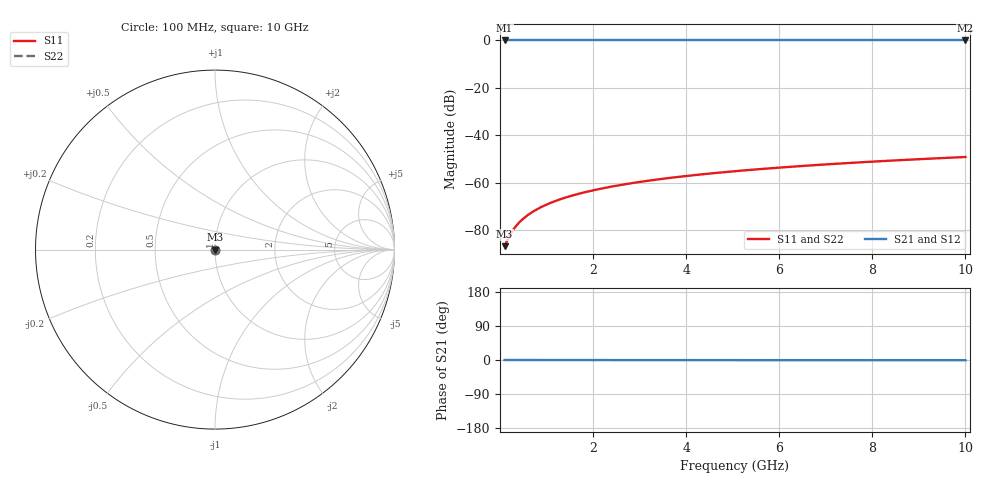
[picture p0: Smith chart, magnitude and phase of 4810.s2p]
# Hz S RI R 50.00
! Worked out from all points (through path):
!   100 points, 100 MHz to 10 GHz, reference 50 ohm
!   highest |S21| = 0.00 dB at 100 MHz (marker M1); lowest = 0.0 dB at 10 GHz (marker M2)
!   lowest |S11| = -86.7 dB at 100 MHz (marker M3), VSWR 1.00, Z = 50 - j0.00347 ohm
!   |S11| at or under -10 dB: start of sweep to end of sweep
!   |S22| runs from -86.7 to -49.1 dB; largest |S21 - S12| = 0
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1e8  3.09e-05 -3.47e-05  1 -0.000125  1 -0.000125  3.09e-05 -3.47e-05
2e8  3.1e-05 -6.95e-05  1 -0.00025  1 -0.00025  3.1e-05 -6.95e-05
3e8  3.1e-05 -0.000104  1 -0.000375  1 -0.000375  3.1e-05 -0.000104
4e8  3.11e-05 -0.000139  1 -0.0005  1 -0.0005  3.11e-05 -0.000139
5e8  3.11e-05 -0.000174  1 -0.000625  1 -0.000625  3.11e-05 -0.000174
6e8  3.1e-05 -0.000209  1 -0.00075  1 -0.00075  3.1e-05 -0.000209
7e8  3.1e-05 -0.000243  1 -0.000875  1 -0.000875  3.1e-05 -0.000243
9e8  3.09e-05 -0.000313  1 -0.00112  1 -0.00112  3.09e-05 -0.000313
1.1e9  3.07e-05 -0.000382  1 -0.00137  1 -0.00137  3.07e-05 -0.000382
1.3e9  3.04e-05 -0.000452  1 -0.00162  1 -0.00162  3.04e-05 -0.000452
1.5e9  3.02e-05 -0.000522  1 -0.00187  1 -0.00187  3.02e-05 -0.000522
1.8e9  2.97e-05 -0.000626  1 -0.00225  1 -0.00225  2.97e-05 -0.000626
2.1e9  2.91e-05 -0.000731  1 -0.00263  1 -0.00263  2.91e-05 -0.000731
2.5e9  2.82e-05 -0.00087  1 -0.00313  1 -0.00313  2.82e-05 -0.00087
2.9e9  2.71e-05 -0.00101  1 -0.00363  1 -0.00363  2.71e-05 -0.00101
3.4e9  2.56e-05 -0.00118  1 -0.00425  1 -0.00425  2.56e-05 -0.00118
4.2e9  2.26e-05 -0.00146  0.9999 -0.00526  0.9999 -0.00526  2.26e-05 -0.00146
5.1e9  1.86e-05 -0.00178  0.9999 -0.00639  0.9999 -0.00639  1.86e-05 -0.00178
5.9e9  1.45e-05 -0.00206  0.9999 -0.00739  0.9999 -0.00739  1.45e-05 -0.00206
6.7e9  9.73e-06 -0.00234  0.9999 -0.0084  0.9999 -0.0084  9.73e-06 -0.00234
8.4e9  -2.25e-06 -0.00294  0.9999 -0.0105  0.9999 -0.0105  -2.25e-06 -0.00294
1e10  -1.59e-05 -0.00351  0.9999 -0.0126  0.9999 -0.0126  -1.59e-05 -0.00351
